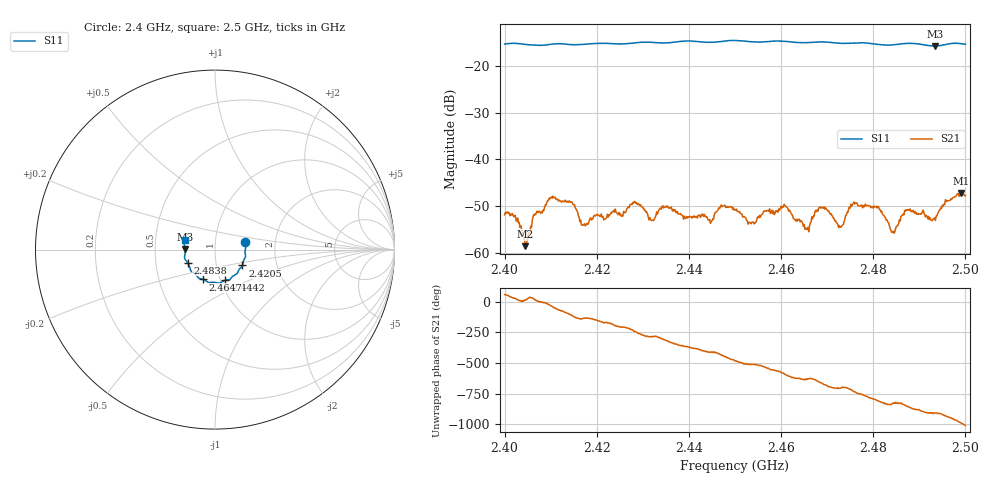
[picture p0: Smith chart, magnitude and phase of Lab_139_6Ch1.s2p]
# Hz S RI R 50
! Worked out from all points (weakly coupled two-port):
!   601 points, 2.4 GHz to 2.5 GHz, reference 50 ohm
!   highest |S21| = -47.22 dB at 2.499 GHz (marker M1); lowest = -58.6 dB at 2.4045 GHz (marker M2)
!   lowest |S11| = -15.6 dB at 2.4935 GHz (marker M3), VSWR 1.40, Z = 35.8 + j0.14 ohm
!   |S11| at or under -10 dB: start of sweep to end of sweep
!   S12 and S22 are empty: the file has one direction only
!   S11 on the Smith chart (normalised r, x): 2.4 GHz: 1.40, +0.11; 2.4205 GHz: 1.34, -0.24; 2.4442 GHz: 1.05, -0.37; 2.4647 GHz: 0.83, -0.29; 2.4838 GHz: 0.73, -0.11; 2.5 GHz: 0.71, +0.08
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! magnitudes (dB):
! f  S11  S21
! 2.4 GHz  -15.2  -51.9
! 2.4045 GHz  -15.3  -58.6
! 2.4102 GHz  -15.2  -48.0
! 2.4147 GHz  -15.4  -49.3
! 2.4167 GHz  -15.3  -54.0
! 2.4205 GHz  -15.1  -52.0
! 2.4333 GHz  -15.0  -51.2
! 2.4442 GHz  -14.8  -53.0
! 2.45 GHz  -14.4  -50.9
! 2.4538 GHz  -14.8  -53.4
! 2.4608 GHz  -14.6  -49.9
! 2.4647 GHz  -14.9  -53.6
! 2.4667 GHz  -14.8  -52.3
! 2.4688 GHz  -14.7  -50.3
! 2.473 GHz  -15.1  -54.6
! 2.476 GHz  -15.0  -49.6
! 2.4833 GHz  -15.5  -53.6
! 2.4838 GHz  -15.4  -55.2
! 2.4875 GHz  -15.1  -50.8
! 2.4935 GHz  -15.6  -53.1
! 2.499 GHz  -15.1  -47.2
! 2.5 GHz  -15.2  -47.7
